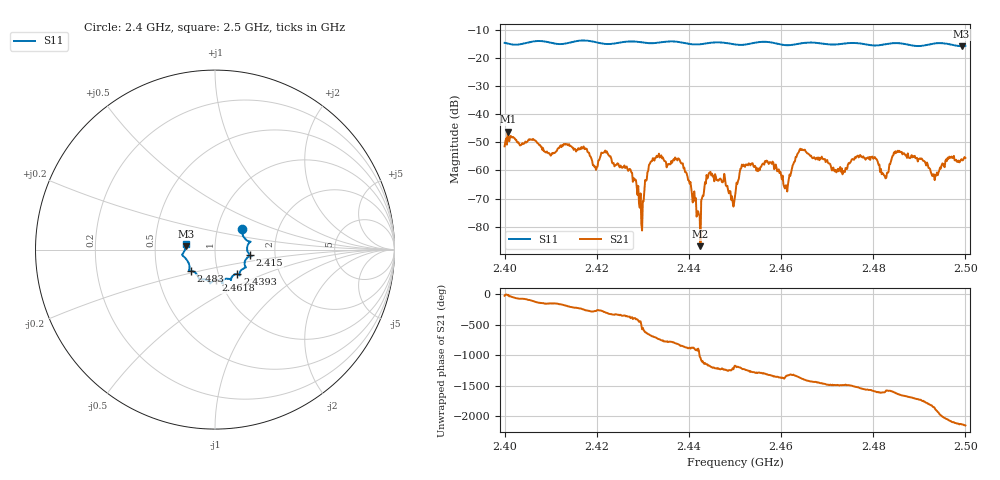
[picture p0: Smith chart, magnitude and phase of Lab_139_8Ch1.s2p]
# Hz S RI R 50
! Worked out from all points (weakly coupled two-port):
!   601 points, 2.4 GHz to 2.5 GHz, reference 50 ohm
!   highest |S21| = -46.19 dB at 2.4007 GHz (marker M1); lowest = -87.0 dB at 2.4425 GHz (marker M2)
!   lowest |S11| = -15.7 dB at 2.4992 GHz (marker M3), VSWR 1.39, Z = 36 + j1.35 ohm
!   |S11| at or under -10 dB: start of sweep to end of sweep
!   S12 and S22 are empty: the file has one direction only
!   S11 on the Smith chart (normalised r, x): 2.4 GHz: 1.31, +0.31; 2.415 GHz: 1.48, -0.10; 2.4393 GHz: 1.23, -0.35; 2.4618 GHz: 0.95, -0.34; 2.483 GHz: 0.74, -0.18; 2.5 GHz: 0.72, +0.05
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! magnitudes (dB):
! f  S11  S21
! 2.4 GHz  -14.5  -51.4
! 2.4007 GHz  -14.8  -46.2
! 2.415 GHz  -14.1  -52.6
! 2.4167 GHz  -13.7  -51.6
! 2.4268 GHz  -14.0  -60.2
! 2.4297 GHz  -14.3  -78.8
! 2.4315 GHz  -14.6  -57.7
! 2.4333 GHz  -14.4  -54.8
! 2.4393 GHz  -14.7  -60.6
! 2.4425 GHz  -15.0  -87.0
! 2.4443 GHz  -14.6  -60.9
! 2.45 GHz  -15.1  -69.3
! 2.452 GHz  -15.2  -58.4
! 2.4618 GHz  -15.3  -61.5
! 2.464 GHz  -14.8  -52.7
! 2.4667 GHz  -14.4  -55.3
! 2.483 GHz  -14.9  -60.8
! 2.4833 GHz  -14.8  -60.4
! 2.4853 GHz  -14.6  -53.0
! 2.4932 GHz  -14.8  -61.4
! 2.4992 GHz  -15.7  -56.0
! 2.5 GHz  -15.6  -55.5
